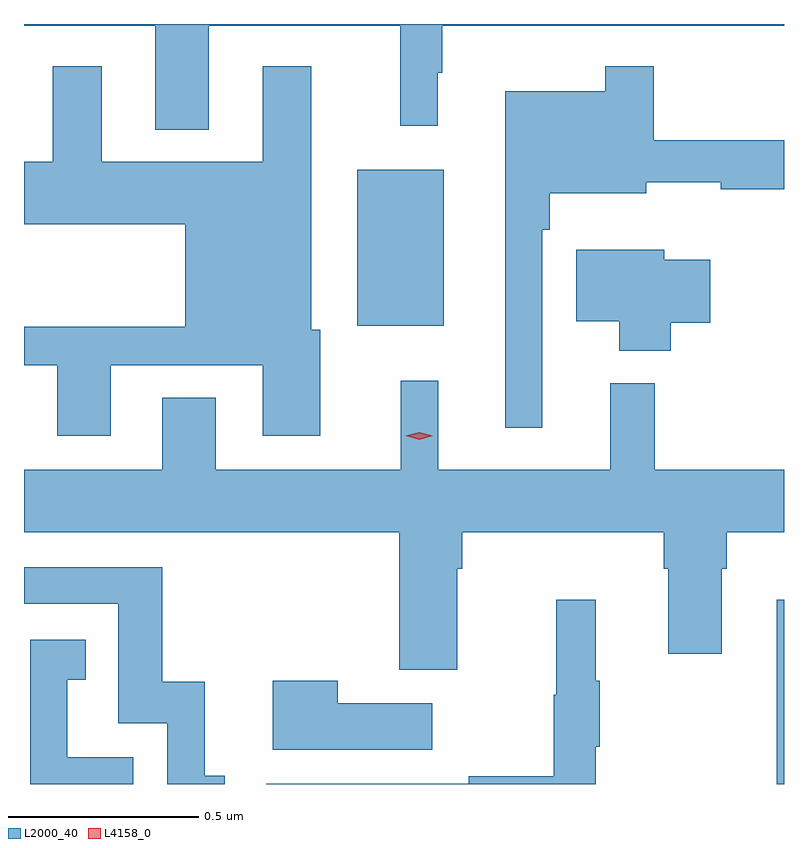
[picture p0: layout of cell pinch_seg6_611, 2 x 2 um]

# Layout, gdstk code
import gdstk
lib = gdstk.Library(unit=1e-6, precision=1e-09)
def R(c, l, rs):  # rectangles x0, y0, x1, y1
    for r in rs: c.add(gdstk.rectangle(r[:2], r[2:], *l))
def P(c, l, *ps):  # polygons
    for p in ps: c.add(gdstk.Polygon(p, *l))
L2000_40 = (2000, 40)
L4158_0 = (4158, 0)

pinch_seg6_611 = lib.new_cell('pinch_seg6_611')
R(pinch_seg6_611, L2000_40, [(542.738,959.993,542.757,960.478), (541.634,961.199,541.861,961.609)])
P(pinch_seg6_611, L2000_40, [(541.243,961.988),(541.747,961.988),(541.747,961.725),(541.846,961.725),(541.846,961.865),(541.858,961.865),(541.858,961.988),(542.757,961.988),(542.757,961.993),(540.757,961.993),(540.757,961.988),(541.103,961.988),(541.103,961.715),(541.243,961.715)],
  [(540.985,961.095),(541.385,961.095),(541.385,960.909),(541.537,960.909),(541.537,961.188),(541.513,961.188),(541.513,961.882),(541.385,961.882),(541.385,961.63),(540.961,961.63),(540.961,961.882),(540.833,961.882),(540.833,961.63),(540.757,961.63),(540.757,961.466),(541.181,961.466),(541.181,961.196),(540.757,961.196),(540.757,961.095),(540.845,961.095),(540.845,960.909),(540.985,960.909)],
  [(542.121,961.451),(542.141,961.451),(542.141,961.547),(542.395,961.547),(542.395,961.577),(542.591,961.577),(542.591,961.558),(542.757,961.558),(542.757,961.687),(542.414,961.687),(542.414,961.882),(542.286,961.882),(542.286,961.816),(542.024,961.816),(542.024,960.93),(542.121,960.93)],
  [(542.459,961.207),(542.563,961.207),(542.563,961.372),(542.442,961.372),(542.442,961.399),(542.21,961.399),(542.21,961.211),(542.324,961.211),(542.324,961.133),(542.459,961.133)],
  [(541.897,960.56),(541.91,960.56),(541.91,960.656),(542.441,960.656),(542.441,960.56),(542.453,960.56),(542.453,960.336),(542.593,960.336),(542.593,960.56),(542.606,960.56),(542.606,960.656),(542.757,960.656),(542.757,960.82),(542.417,960.82),(542.417,961.048),(542.3,961.048),(542.3,960.82),(541.847,960.82),(541.847,961.054),(541.748,961.054),(541.748,960.82),(541.261,960.82),(541.261,961.01),(541.121,961.01),(541.121,960.82),(540.757,960.82),(540.757,960.656),(541.745,960.656),(541.745,960.294),(541.897,960.294)],
  [(541.285,960.015),(541.232,960.015),(541.232,960.262),(541.121,960.262),(541.121,960.564),(540.757,960.564),(540.757,960.468),(541.005,960.468),(541.005,960.153),(541.134,960.153),(541.134,959.993),(541.285,959.993)],
  [(542.261,960.091),(542.272,960.091),(542.272,960.265),(542.261,960.265),(542.261,960.478),(542.158,960.478),(542.158,960.228),(542.151,960.228),(542.151,960.014),(541.927,960.014),(541.927,959.994),(541.395,959.994),(541.395,959.993),(542.261,959.993)],
  [(541.044,960.063),(540.871,960.063),(540.871,960.267),(540.92,960.267),(540.92,960.373),(540.774,960.373),(540.774,959.993),(541.044,959.993)],
  [(541.831,960.205),(541.583,960.205),(541.583,960.265),(541.412,960.265),(541.412,960.083),(541.831,960.083)])
P(pinch_seg6_611, L4158_0, [(541.797,960.899),(541.762,960.909),(541.761,960.909),(541.762,960.909),(541.797,960.919),(541.833,960.909),(541.833,960.909),(541.833,960.909)])

lib.write_gds('pinch_seg6_611.gds')
